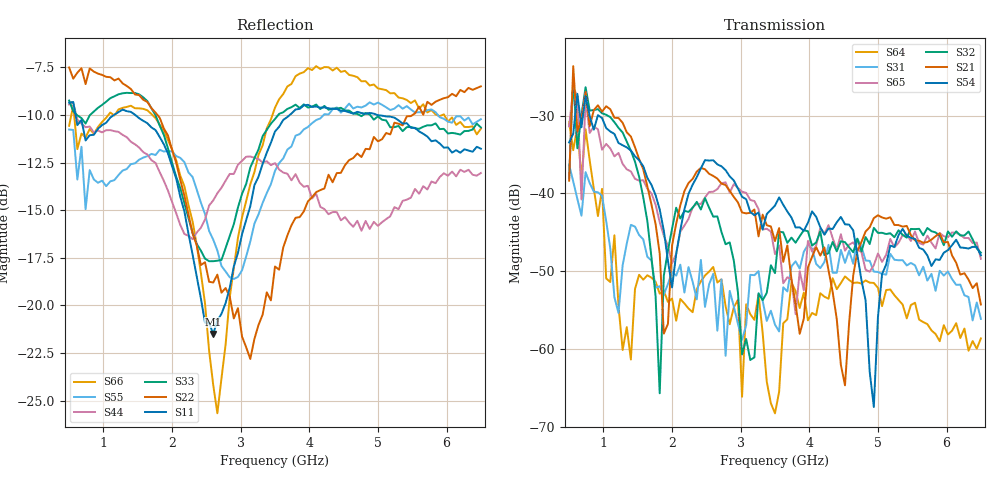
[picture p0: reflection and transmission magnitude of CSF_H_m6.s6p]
!Keysight Technologies,M9804A,MY58100912,A.14.10.03
!Date: Thursday, April 27, 2023 10:28:33
!Correction: S11(C  6-Port  )
!S12(C  6-Port  )
!S13(C  6-Port  )
!S14(C  6-Port  )
!S15(C  6-Port  )
!S16(C  6-Port  )
!S21(C  6-Port  )
!S22(C  6-Port  )
!S23(C  6-Port  )
!S24(C  6-Port  )
!S25(C  6-Port  )
!S26(C  6-Port  )
!S31(C  6-Port  )
!S32(C  6-Port  )
!S33(C  6-Port  )
!S34(C  6-Port  )
!S35(C  6-Port  )
!S36(C  6-Port  )
!S41(C  6-Port  )
!S42(C  6-Port  )
!S43(C  6-Port  )
!S44(C  6-Port  )
!S45(C  6-Port  )
!S46(C  6-Port  )
!S51(C  6-Port  )
!S52(C  6-Port  )
!S53(C  6-Port  )
!S54(C  6-Port  )
!S55(C  6-Port  )
!S56(C  6-Port  )
!S61(C  6-Port  )
!S62(C  6-Port  )
!S63(C  6-Port  )
!S64(C  6-Port  )
!S65(C  6-Port  )
!S66(C  6-Port  )
!S6P File: Measurement: :
# Hz S  RI  R 50
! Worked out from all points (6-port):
!   101 points, 500 MHz to 6.5 GHz, reference 50 ohm
!   strongest paths, dB at 500 MHz, 2 GHz, 3.5 GHz, 5 GHz, 6.5 GHz:
!     S54: -33.5, -52.1, -41.6, -55.9, -47.9
!     S21: -38.4, -46.7, -46.1, -42.8, -54.3
!     S32: -38.0, -44.5, -50.2, -45.1, -47.6
!     S65: -31.4, -49.0, -47.8, -47.7, -48.4
!     S31: -36.3, -50.0, -56.8, -50.1, -56.1
!     S64: -30.8, -53.5, -68.2, -52.1, -58.6
!   lowest |S11| = -21.5 dB at 2.6 GHz (marker M1), VSWR 1.18, Z = 42.5 + j2.22 ohm
!   |S11| at or under -10 dB: 593.6 MHz to 1.155 GHz (561.2 MHz wide, 64.2 % of centre); 1.463 GHz to 3.716 GHz (2.253 GHz wide, 87 % of centre); 4.989 GHz to end of sweep
